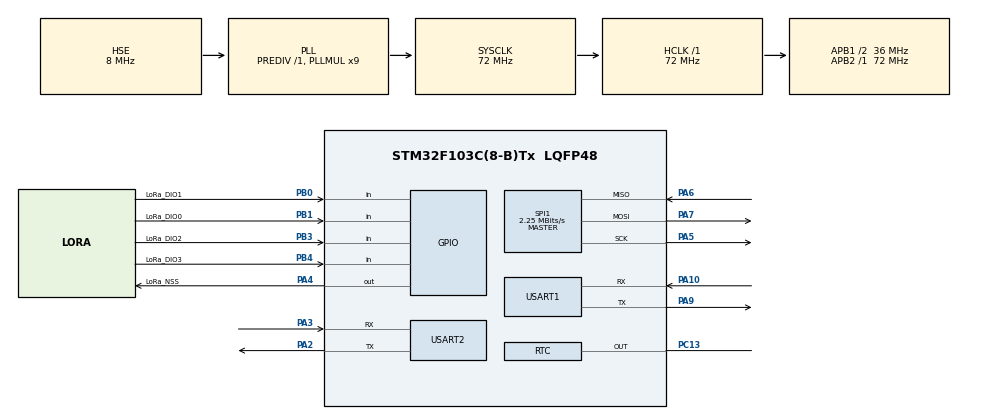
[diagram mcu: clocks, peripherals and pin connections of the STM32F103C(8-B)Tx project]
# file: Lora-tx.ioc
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Dma.Request0=USART2_RX
Dma.Request1=USART2_TX
Dma.USART2_RX.0.Direction=DMA_PERIPH_TO_MEMORY
Dma.USART2_RX.0.Instance=DMA1_Channel6
Dma.USART2_RX.0.MemDataAlignment=DMA_MDATAALIGN_BYTE
Dma.USART2_RX.0.MemInc=DMA_MINC_ENABLE
Dma.USART2_RX.0.Mode=DMA_NORMAL
Dma.USART2_RX.0.PeriphDataAlignment=DMA_PDATAALIGN_BYTE
Dma.USART2_RX.0.PeriphInc=DMA_PINC_DISABLE
Dma.USART2_RX.0.Priority=DMA_PRIORITY_LOW
Dma.USART2_TX.1.Direction=DMA_MEMORY_TO_PERIPH
Dma.USART2_TX.1.Instance=DMA1_Channel7
Dma.USART2_TX.1.MemDataAlignment=DMA_MDATAALIGN_BYTE
Dma.USART2_TX.1.MemInc=DMA_MINC_ENABLE
Dma.USART2_TX.1.Mode=DMA_NORMAL
Dma.USART2_TX.1.PeriphDataAlignment=DMA_PDATAALIGN_BYTE
Dma.USART2_TX.1.PeriphInc=DMA_PINC_DISABLE
Dma.USART2_TX.1.Priority=DMA_PRIORITY_LOW
Mcu.Family=STM32F1
Mcu.Name=STM32F103C(8-B)Tx
Mcu.Package=LQFP48
NVIC.DMA1_Channel6_IRQn=true\:0\:0\:false\:false\:true\:false
NVIC.DMA1_Channel7_IRQn=true\:0\:0\:false\:false\:true\:false
NVIC.PriorityGroup=NVIC_PRIORITYGROUP_4
NVIC.RTC_Alarm_IRQn=true\:0\:0\:false\:false\:true\:true
NVIC.TIM2_IRQn=true\:0\:0\:false\:false\:true\:true
NVIC.USART2_IRQn=true\:0\:0\:false\:false\:true\:true
PA10.Mode=Asynchronous
PA10.Signal=USART1_RX
PA13.Mode=Serial_Wire
PA13.Signal=SYS_JTMS-SWDIO
PA14.Mode=Serial_Wire
PA14.Signal=SYS_JTCK-SWCLK
PA2.Mode=Asynchronous
PA2.Signal=USART2_TX
PA3.Mode=Asynchronous
PA3.Signal=USART2_RX
PA4.GPIO_Label=LoRa_NSS
PA4.Signal=GPIO_Output
PA5.Mode=Full_Duplex_Master
PA5.Signal=SPI1_SCK
PA6.Mode=Full_Duplex_Master
PA6.Signal=SPI1_MISO
PA7.Mode=Full_Duplex_Master
PA7.Signal=SPI1_MOSI
PA9.Mode=Asynchronous
PA9.Signal=USART1_TX
PB0.GPIO_Label=LoRa_DIO1
PB0.Signal=GPIO_Input
PB1.GPIO_Label=LoRa_DIO0
PB1.Signal=GPIO_Input
PB3.GPIO_Label=LoRa_DIO2
PB3.Signal=GPIO_Input
PB4.GPIO_Label=LoRa_DIO3
PB4.Signal=GPIO_Input
PC13-TAMPER-RTC.Mode=RTC OUT
PC13-TAMPER-RTC.Signal=RTC_OUT
PD0-OSC_IN.Mode=HSE-External-Oscillator
PD0-OSC_IN.Signal=RCC_OSC_IN
PD1-OSC_OUT.Mode=HSE-External-Oscillator
PD1-OSC_OUT.Signal=RCC_OSC_OUT
ProjectManager.HeapSize=0x200
ProjectManager.StackSize=0x400
ProjectManager.TargetToolchain=EWARM V8
RCC.AHBFreq_Value=72000000
RCC.APB1CLKDivider=RCC_HCLK_DIV2
RCC.APB1Freq_Value=36000000
RCC.APB1TimFreq_Value=72000000
RCC.APB2Freq_Value=72000000
RCC.APB2TimFreq_Value=72000000
RCC.HCLKFreq_Value=72000000
RCC.PLLMUL=RCC_PLL_MUL9
RCC.PLLSourceVirtual=RCC_PLLSOURCE_HSE
RCC.SYSCLKFreq_VALUE=72000000
RCC.SYSCLKSource=RCC_SYSCLKSOURCE_PLLCLK
RCC.USBFreq_Value=72000000
RTC.Month=RTC_MONTH_NOVEMBER
RTC.Year=19
SPI1.BaudRatePrescaler=SPI_BAUDRATEPRESCALER_32
SPI1.CalculateBaudRate=2.25 MBits/s
SPI1.Direction=SPI_DIRECTION_2LINES
SPI1.Mode=SPI_MODE_MASTER
SPI1.VirtualType=VM_MASTER
TIM2.Period=10000-1
TIM2.Prescaler=7200-1
USART1.VirtualMode=VM_ASYNC
USART2.VirtualMode=VM_ASYNC
VP_RTC_VS_RTC_Activate.Mode=RTC_Enabled
VP_RTC_VS_RTC_Calendar.Mode=RTC_Calendar
VP_TIM2_VS_ClockSourceINT.Mode=Internal
board=custom

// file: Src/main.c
/* USER CODE BEGIN Header */
/**
  ******************************************************************************
  * @file           : main.c
  * @brief          : Main program body
  ******************************************************************************
  ** This notice applies to any and all portions of this file
  * that are not between comment pairs USER CODE BEGIN and
  * USER CODE END. Other portions of this file, whether
  * inserted by the user or by software development tools
  * are owned by their respective copyright owners.
  *
  * COPYRIGHT(c) 2019 STMicroelectronics
  *
  * Redistribution and use in source and binary forms, with or without modification,
  * are permitted provided that the following conditions are met:
  *   1. Redistributions of source code must retain the above copyright notice,
  *      this list of conditions and the following disclaimer.
  *   2. Redistributions in binary form must reproduce the above copyright notice,
  *      this list of conditions and the following disclaimer in the documentation
  *      and/or other materials provided with the distribution.
  *   3. Neither the name of STMicroelectronics nor the names of its contributors
  *      may be used to endorse or promote products derived from this software
  *      without specific prior written permission.
  *
  * THIS SOFTWARE IS PROVIDED BY THE COPYRIGHT HOLDERS AND CONTRIBUTORS "AS IS"
  * AND ANY EXPRESS OR IMPLIED WARRANTIES, INCLUDING, BUT NOT LIMITED TO, THE
  * IMPLIED WARRANTIES OF MERCHANTABILITY AND FITNESS FOR A PARTICULAR PURPOSE ARE
  * DISCLAIMED. IN NO EVENT SHALL THE COPYRIGHT HOLDER OR CONTRIBUTORS BE LIABLE
  * FOR ANY DIRECT, INDIRECT, INCIDENTAL, SPECIAL, EXEMPLARY, OR CONSEQUENTIAL
  * DAMAGES (INCLUDING, BUT NOT LIMITED TO, PROCUREMENT OF SUBSTITUTE GOODS OR
  * SERVICES; LOSS OF USE, DATA, OR PROFITS; OR BUSINESS INTERRUPTION) HOWEVER
  * CAUSED AND ON ANY THEORY OF LIABILITY, WHETHER IN CONTRACT, STRICT LIABILITY,
  * OR TORT (INCLUDING NEGLIGENCE OR OTHERWISE) ARISING IN ANY WAY OUT OF THE USE
  * OF THIS SOFTWARE, EVEN IF ADVISED OF THE POSSIBILITY OF SUCH DAMAGE.
  *
  ******************************************************************************
  */
/* USER CODE END Header */

#include "main.h"
#include "dma.h"
#include "rtc.h"
#include "spi.h"
#include "tim.h"
#include "usart.h"
#include "gpio.h"

/* USER CODE BEGIN Includes */
#include "stdio.h"
#include "platform.h"
#include "sx1276-Hal.h"
#include "sx12xxEiger.h"
#include "sx1276-LoRa.h"
#include "sx1276-LoRaMisc.h"
#include "radio.h"
#include "string.h"
/* USER CODE END Includes */

/* USER CODE BEGIN PTD */
//extern volatile uint8_t rx_len;
//extern volatile uint8_t recv_end_flag;
//extern uint8_t  rx_buffer[200];
extern USART_ReceiveType usart2;
extern char      BUFFER_SIZE;
/* USER CODE END PTD */

/* USER CODE BEGIN PV */
#define BUFFERSIZE      4

uint8_t PingMsg[] = "PING";
uint8_t PongMsg[] = "PONG";

uint16_t BufferSize = BUFFERSIZE;
uint8_t Buffer[BUFFERSIZE];

#ifdef MASTER
uint8_t EnableMaster = true;
#else
uint8_t EnableMaster = false;
#endif

uint32_t Master_TxNumber = 0;
uint32_t Master_RxNumber = 0;

uint32_t Slave_TxNumber = 0;
uint32_t Slave_RxNumber = 0;

tRadioDriver *Radio = NULL;

/* USER CODE END PV */

void SystemClock_Config(void);

/* USER CODE BEGIN 0 */
int fputc(int ch,FILE *p)
{
    while(!(USART1->SR & (1<<7)));

    USART1->DR = ch;

    return ch;
}

/**************************************************************************
 * Name    @@Master_Task
 * Summary @@������������
 * Params  @@��
 * Return  @@��
 *************************************************************************/
void Master_Task(void)
{
  switch(Radio->Process())
  {
      case RF_RX_DONE:
        Radio->GetRxPacket(Buffer,&BufferSize);
        printf("Master RF_RX_DONE:%s\r\n",Buffer);
        if(strncmp((const char*)Buffer,(const char*)PongMsg,strlen((const char*)PongMsg)) == 0)
        {
          Master_RxNumber++;
          Radio->SetTxPacket(PingMsg,strlen((const char*)PingMsg));
        }
        HAL_Delay(500);
        break;
      case RF_TX_DONE:
        printf("Master RF_TX_DONE\r\n");
        Master_TxNumber++;
        Radio->StartRx();
        break;
      default :
      break;
  }
}

/**************************************************************************
 * Name    @@Slave_Task
 * Summary @@�ӻ���������
 * Params  @@��
 * Return  @@��
 *************************************************************************/
void Slave_Task(void)
{
  switch(Radio->Process())
  {
      case RF_RX_DONE:
        Radio->GetRxPacket(Buffer,&BufferSize);
        printf("Slave RF_RX_DONE:%s\r\n",Buffer);
        if(strncmp((const char*)Buffer,(const char*)PingMsg,strlen((const char*)PingMsg)) == 0)
        {
          Slave_RxNumber++;
          Radio->SetTxPacket(PongMsg,strlen((const char*)PongMsg));
          HAL_Delay(500);
        }
        break;
      case RF_TX_DONE:
        printf("Slave RF_TX_DONE\r\n");
        Slave_TxNumber++;
        Radio->StartRx();
        break;
      default :
      break;
  }
}
/* USER CODE END 0 */

int main(void)
{
  /* USER CODE BEGIN 1 */
  uint8_t RegVersion = 0;
  /* USER CODE END 1 */

  /* MCU Configuration--------------------------------------------------------*/

  /* Reset of all peripherals, Initializes the Flash interface and the Systick. */
  HAL_Init();

  /* Configure the system clock */
  SystemClock_Config();

  /* Initialize all configured peripherals */
  MX_GPIO_Init();
  MX_DMA_Init();
  MX_USART1_UART_Init();
  MX_SPI1_Init();
  MX_USART2_UART_Init();
  MX_RTC_Init();
  MX_TIM2_Init();
  /* USER CODE BEGIN 2 */

  SX1276Read( REG_LR_VERSION, &RegVersion );
  if(RegVersion != 0x12)
  {
    printf("LoRa read Error !\r\n");
    printf("LoRa RegVersion = %d\r\n",RegVersion);
  }
  else
  {
    printf("LoRa read ok !\r\n");
    printf("LoRa RegVersion = %d\r\n",RegVersion);
  }

  Radio = RadioDriverInit();
  Radio->Init();

#ifdef MASTER
  Radio->SetTxPacket(PingMsg,strlen((const char*)PingMsg));
  printf("I am Master !\r\n");
#else
  Radio->StartRx();
  printf("I am Slave !\r\n");
#endif

  /* USER CODE END 2 */

  /* Infinite loop */
  while (1)
  {

    /* USER CODE BEGIN 3 */
    /*
    if(usart2.recv_end_flag == 1)
    {
      Radio->SetTxPacket(usart2.rx_buffer,usart2.rx_len);
      memset(usart2.rx_buffer,0,usart2.rx_len);
      Radio->StartRx();
      usart2.recv_end_flag = 0;
    }*/

    if(EnableMaster == true)
    {
      Master_Task();
    }
    else
    {
      Slave_Task();
    }
    HAL_Delay(100);
  }
  /* USER CODE END 3 */
}

void SystemClock_Config(void)
{
  RCC_OscInitTypeDef RCC_OscInitStruct = {0};
  RCC_ClkInitTypeDef RCC_ClkInitStruct = {0};
  RCC_PeriphCLKInitTypeDef PeriphClkInit = {0};

  /**Initializes the CPU, AHB and APB busses clocks
  */
  RCC_OscInitStruct.OscillatorType = RCC_OSCILLATORTYPE_LSI|RCC_OSCILLATORTYPE_HSE;
  RCC_OscInitStruct.HSEState = RCC_HSE_ON;
  RCC_OscInitStruct.HSEPredivValue = RCC_HSE_PREDIV_DIV1;
  RCC_OscInitStruct.HSIState = RCC_HSI_ON;
  RCC_OscInitStruct.LSIState = RCC_LSI_ON;
  RCC_OscInitStruct.PLL.PLLState = RCC_PLL_ON;
  RCC_OscInitStruct.PLL.PLLSource = RCC_PLLSOURCE_HSE;
  RCC_OscInitStruct.PLL.PLLMUL = RCC_PLL_MUL9;
  if (HAL_RCC_OscConfig(&RCC_OscInitStruct) != HAL_OK)
  {
    Error_Handler();
  }
  /**Initializes the CPU, AHB and APB busses clocks
  */
  RCC_ClkInitStruct.ClockType = RCC_CLOCKTYPE_HCLK|RCC_CLOCKTYPE_SYSCLK
                              |RCC_CLOCKTYPE_PCLK1|RCC_CLOCKTYPE_PCLK2;
  RCC_ClkInitStruct.SYSCLKSource = RCC_SYSCLKSOURCE_PLLCLK;
  RCC_ClkInitStruct.AHBCLKDivider = RCC_SYSCLK_DIV1;
  RCC_ClkInitStruct.APB1CLKDivider = RCC_HCLK_DIV2;
  RCC_ClkInitStruct.APB2CLKDivider = RCC_HCLK_DIV1;

  if (HAL_RCC_ClockConfig(&RCC_ClkInitStruct, FLASH_LATENCY_2) != HAL_OK)
  {
    Error_Handler();
  }
  PeriphClkInit.PeriphClockSelection = RCC_PERIPHCLK_RTC;
  PeriphClkInit.RTCClockSelection = RCC_RTCCLKSOURCE_LSI;
  if (HAL_RCCEx_PeriphCLKConfig(&PeriphClkInit) != HAL_OK)
  {
    Error_Handler();
  }
}

void Error_Handler(void)
{
}

/************************ (C) COPYRIGHT STMicroelectronics *****END OF FILE****/
